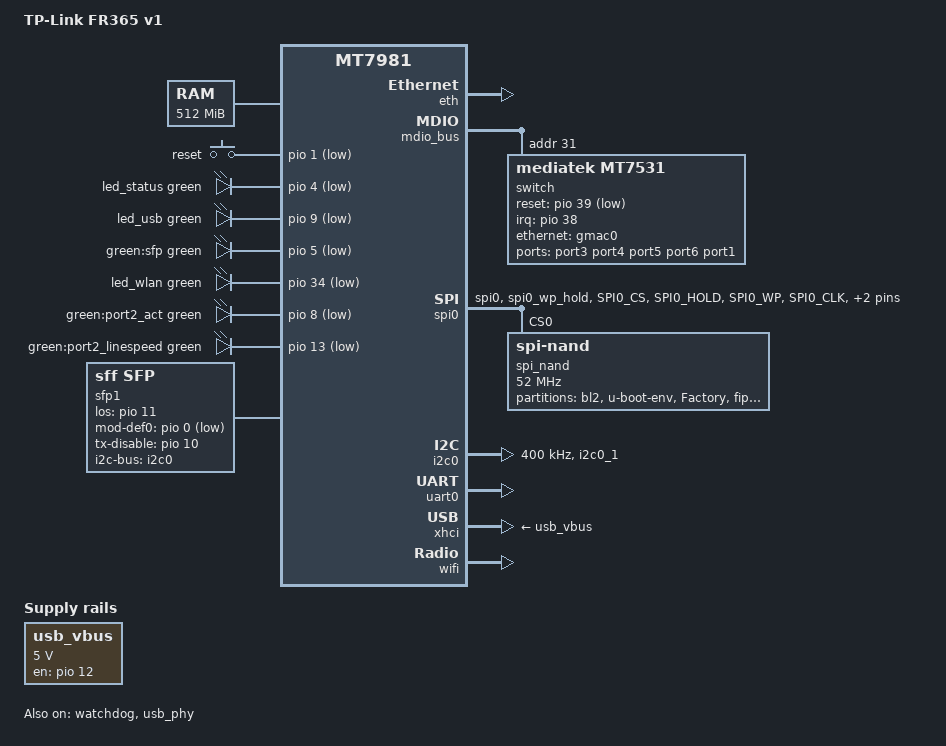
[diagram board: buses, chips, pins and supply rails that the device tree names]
// SPDX-License-Identifier: GPL-2.0-or-later OR MIT

/dts-v1/;
#include <dt-bindings/gpio/gpio.h>
#include <dt-bindings/input/input.h>
#include <dt-bindings/leds/common.h>
#include <dt-bindings/pinctrl/mt65xx.h>

#include "mt7981b.dtsi"

/ {
	model = "TP-Link FR365 v1";
	compatible = "tplink,fr365-v1", "mediatek,mt7981";

	aliases {
		serial0 = &uart0;
		led-boot = &led_status;
		led-failsafe = &led_status;
		led-running = &led_status;
		led-upgrade = &led_status;
	};

	chosen {
		stdout-path = "serial0:115200n8";
	};

	memory@40000000 {
		reg = <0 0x40000000 0 0x20000000>;
		device_type = "memory";
	};

	gpio-keys {
		compatible = "gpio-keys";

		reset {
			label = "reset";
			linux,code = <KEY_RESTART>;
			gpios = <&pio 1 GPIO_ACTIVE_LOW>;
		};
	};

	leds {
		compatible = "gpio-leds";

		led_status: led_status {
			function = LED_FUNCTION_STATUS;
			color = <LED_COLOR_ID_GREEN>;
			gpios = <&pio 4 GPIO_ACTIVE_LOW>;
		};

		led_usb: led_usb {
			function = LED_FUNCTION_USB;
			color = <LED_COLOR_ID_GREEN>;
			gpios = <&pio 9 GPIO_ACTIVE_LOW>;
		};

		led_sfp: led_sfp {
			label = "green:sfp";
			color = <LED_COLOR_ID_GREEN>;
			gpios = <&pio 5 GPIO_ACTIVE_LOW>;
		};

		led_wlan: led_wlan {
			function = LED_FUNCTION_WLAN;
			color = <LED_COLOR_ID_GREEN>;
			gpios = <&pio 34 GPIO_ACTIVE_LOW>;
		};

		led_port2_act: led_port2_act {
			label = "green:port2_act";
			color = <LED_COLOR_ID_GREEN>;
			gpios = <&pio 8 GPIO_ACTIVE_LOW>;
		};

		led_port2_linespeed: led_port2_linespeed {
			label = "green:port2_linespeed";
			color = <LED_COLOR_ID_GREEN>;
			gpios = <&pio 13 GPIO_ACTIVE_LOW>;
		};
	};

	usb_vbus: regulator-usb-vbus {
		compatible = "regulator-fixed";
		regulator-name = "usb_vbus";
		regulator-min-microvolt = <5000000>;
		regulator-max-microvolt = <5000000>;
		gpios = <&pio 12 GPIO_ACTIVE_HIGH>;
		enable-active-high;
		regulator-boot-on;
	};

	sfp1: sfp-1 {
		compatible = "sff,sfp";
		i2c-bus = <&i2c0>;
		los-gpios = <&pio 11 GPIO_ACTIVE_HIGH>;
		mod-def0-gpios = <&pio 0 GPIO_ACTIVE_LOW>;
		maximum-power-milliwatt = <3000>;
		tx-disable-gpios = <&pio 10 GPIO_ACTIVE_HIGH>;
	};
};

&eth {
	status = "okay";

	gmac0: mac@0 {
		compatible = "mediatek,eth-mac";
		reg = <0>;
		phy-mode = "2500base-x";

		fixed-link {
			speed = <2500>;
			full-duplex;
		};
	};

	gmac1: mac@1 {
		compatible = "mediatek,eth-mac";
		reg = <1>;
		phy-mode = "gmii";
		phy-handle = <&int_gbe_phy>;
		label = "port2";
	};
};

&mdio_bus {
	switch: switch@1f {
		compatible = "mediatek,mt7531";
		reg = <31>;
		reset-gpios = <&pio 39 GPIO_ACTIVE_LOW>;
		interrupt-controller;
		#interrupt-cells = <1>;
		interrupt-parent = <&pio>;
		interrupts = <38 IRQ_TYPE_LEVEL_HIGH>;
	};
};

&spi0 {
	pinctrl-names = "default";
	pinctrl-0 = <&spi0_flash_pins>;
	status = "okay";

	spi_nand@0 {
		compatible = "spi-nand";
		#address-cells = <1>;
		#size-cells = <1>;
		reg = <0>;

		spi-max-frequency = <52000000>;
		spi-tx-bus-width = <4>;
		spi-rx-bus-width = <4>;

		partitions {
			compatible = "fixed-partitions";
			#address-cells = <1>;
			#size-cells = <1>;

			partition@0 {
				label = "bl2";
				reg = <0x0000000 0x0100000>;
				read-only;
			};

			partition@100000 {
				label = "u-boot-env";
				reg = <0x0100000 0x0080000>;
			};

			partition@180000 {
				label = "Factory";
				reg = <0x0180000 0x0200000>;
				read-only;
			};

			partition@380000 {
				label = "fip";
				reg = <0x0380000 0x0200000>;
				read-only;
			};

			partition@580000 {
				label = "ubi";
				reg = <0x0580000 0x2400000>;
				compatible = "linux,ubi";

				volumes {
					ubi_rootdisk: ubi-volume-fit {
						volname = "kernel";
					};
				};
			};

			partition@2980000 {
				label = "ubi.b";
				reg = <0x2980000 0x2400000>;

				volumes {
					ubi_rootdisk_2: ubi-volume-fit {
						volname = "kernel";
					};
				};
			};

			partition@4d80000 {
				label = "support-list";
				reg = <0x4d80000 0x0020000>;
				read-only;
			};

			partition@4da0000 {
				label = "user-config";
				reg = <0x4da0000 0x0a00000>;
				read-only;
			};

			partition@57a0000 {
				label = "partition-table";
				reg = <0x57a0000 0x0020000>;
				read-only;
			};

			partition@57c0000 {
				label = "device-info";
				reg = <0x57c0000 0x0020000>;
				read-only;
			};

			partition@57e0000 {
				label = "device-info.b";
				reg = <0x57e0000 0x0020000>;
				read-only;
			};

			partition@5800000 {
				label = "tddp";
				reg = <0x5800000 0x0020000>;
				read-only;
			};

			partition@5820000 {
				label = "tddp.b";
				reg = <0x5820000 0x0020000>;
				read-only;
			};

			partition@5840000 {
				label = "extra-para-ubi";
				reg = <0x5840000 0x0200000>;
			};

			partition@5a40000 {
				label = "firmware-info";
				reg = <0x5a40000 0x0020000>;
				read-only;
			};

			partition@5a60000 {
				label = "firmware-info.b";
				reg = <0x5a60000 0x0020000>;
				read-only;
			};

			partition@5a80000 {
				label = "log";
				reg = <0x5a80000 0x0200000>;
				read-only;
			};

			partition@5c80000 {
				label = "log.b";
				reg = <0x5c80000 0x0200000>;
				read-only;
			};

			partition@5e80000 {
				label = "wlan";
				reg = <0x5e80000 0x0500000>;
				read-only;
			};

			partition@6380000 {
				label = "wlan.b";
				reg = <0x6380000 0x0500000>;
				read-only;
			};

			partition@6880000 {
				label = "database";
				reg = <0x6880000 0x1100000>;
				read-only;
			};

			partition@7980000 {
				label = "log_recovery";
				reg = <0x7980000 0x0080000>;
				read-only;
			};

			partition@7a00000 {
				label = "panic-oops";
				reg = <0x7a00000 0x0080000>;
				read-only;
			};
		};
	};
};

&switch {
	ports {
		#address-cells = <1>;
		#size-cells = <0>;

		port@0 {
			reg = <0>;
			label = "port3";
		};

		port@1 {
			reg = <1>;
			label = "port4";
		};

		port@2 {
			reg = <2>;
			label = "port5";
		};

		port@3 {
			reg = <3>;
			label = "port6";
		};

		port@5 {
			reg = <5>;
			label = "port1";
			phy-mode = "2500base-x";
			managed = "in-band-status";
			sfp = <&sfp1>;
		};

		port@6 {
			reg = <6>;
			ethernet = <&gmac0>;
			phy-mode = "2500base-x";

			fixed-link {
				speed = <2500>;
				full-duplex;
			};
		};
	};
};

&pio {
	i2c0_pins: i2c0-pins {
		mux {
			function = "i2c";
			groups = "i2c0_1";
		};
	};

	spi0_flash_pins: spi0-pins {
		mux {
			function = "spi";
			groups = "spi0", "spi0_wp_hold";
		};

		conf-pu {
			pins = "SPI0_CS", "SPI0_HOLD", "SPI0_WP";
			drive-strength = <MTK_DRIVE_8mA>;
			bias-disable; /* bias-disable */
		};

		conf-pd {
			pins = "SPI0_CLK", "SPI0_MOSI", "SPI0_MISO";
			drive-strength = <MTK_DRIVE_8mA>;
			bias-disable; /* bias-disable */
		};
	};
};

&i2c0 {
	pinctrl-names = "default";
	clock-frequency = <400000>;
	pinctrl-0 = <&i2c0_pins>;
	status = "okay";
};

&uart0 {
	status = "okay";
};

&watchdog {
	status = "okay";
};

&xhci {
	status = "okay";
	vbus-supply = <&usb_vbus>;
	mediatek,u3p-dis-msk = <0x01>;
};

&usb_phy {
	status = "okay";
};

&wifi {
	status = "okay";
};
